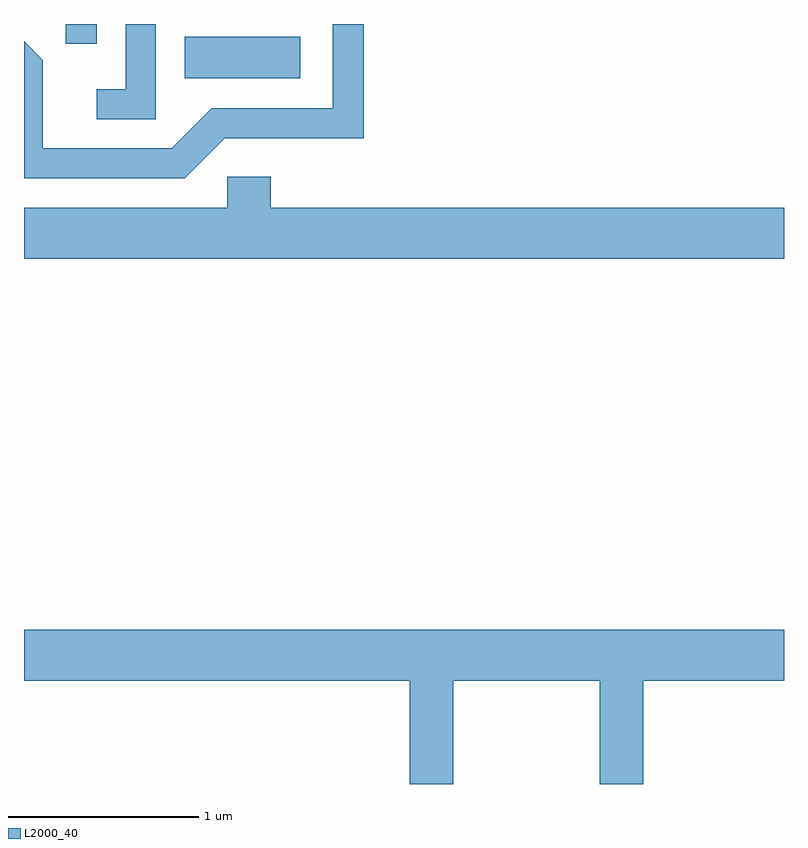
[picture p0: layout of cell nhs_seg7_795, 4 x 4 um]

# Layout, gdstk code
import gdstk
lib = gdstk.Library(unit=1e-6, precision=1e-09)
def R(c, l, rs):  # rectangles x0, y0, x1, y1
    for r in rs: c.add(gdstk.rectangle(r[:2], r[2:], *l))
def P(c, l, *ps):  # polygons
    for p in ps: c.add(gdstk.Polygon(p, *l))
L2000_40 = (2000, 40)

nhs_seg7_795 = lib.new_cell('nhs_seg7_795')
R(nhs_seg7_795, L2000_40, [(210.456,1681.966,211.064,1682.184), (209.831,1682.148,209.994,1682.252)])
P(nhs_seg7_795, L2000_40, [(210.667,1681.651),(211.399,1681.651),(211.399,1682.252),(211.236,1682.252),(211.236,1681.809),(210.599,1681.809),(210.389,1681.599),(209.709,1681.599),(209.709,1682.062),(209.611,1682.16),(209.611,1681.441),(210.457,1681.441)],
  [(210.304,1682.252),(210.146,1682.252),(210.146,1681.909),(209.993,1681.909),(209.993,1681.751),(210.304,1681.751)],
  [(213.611,1681.284),(210.909,1681.284),(210.909,1681.449),(210.681,1681.449),(210.681,1681.284),(209.611,1681.284),(209.611,1681.016),(213.611,1681.016)],
  [(211.869,1678.796),(212.641,1678.796),(212.641,1678.252),(212.869,1678.252),(212.869,1678.796),(213.611,1678.796),(213.611,1679.064),(209.611,1679.064),(209.611,1678.796),(211.641,1678.796),(211.641,1678.252),(211.869,1678.252)])

lib.write_gds('nhs_seg7_795.gds')
